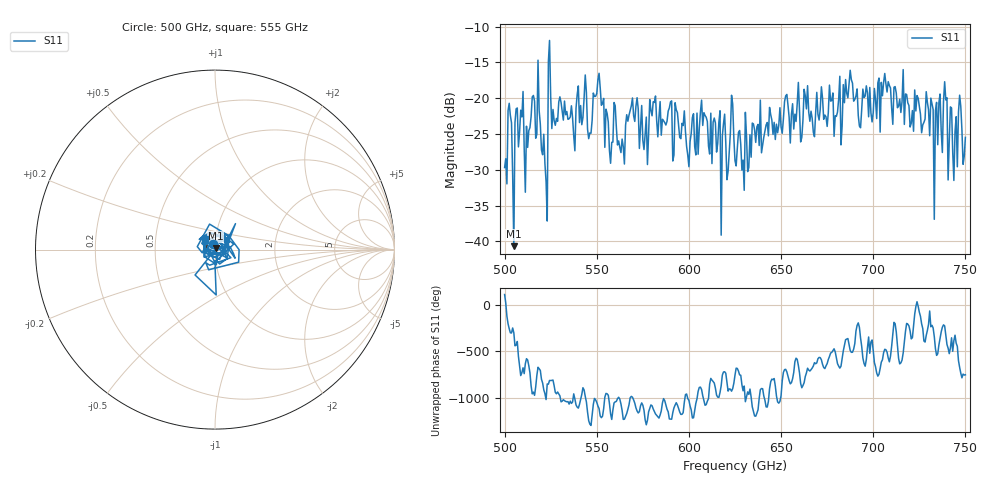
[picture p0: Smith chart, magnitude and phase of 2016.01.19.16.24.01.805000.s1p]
!Created with skrf (http://scikit-rf.org).
# GHz S RI R 50.0
!freq ReS11 ImS11
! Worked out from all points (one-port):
!   401 points, 500 GHz to 750 GHz, reference 50 ohm
!   lowest |S11| = -40.7 dB at 505 GHz (marker M1), VSWR 1.02, Z = 50.5 + j0.804 ohm
!   |S11| at or under -10 dB: start of sweep to end of sweep
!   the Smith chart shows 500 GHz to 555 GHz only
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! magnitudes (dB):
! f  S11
! 500 GHz  -29.7
! 502.5 GHz  -20.7
! 505 GHz  -40.7
! 516.9 GHz  -25.6
! 521.9 GHz  -29.2
! 525 GHz  -19.8
! 526.9 GHz  -23.1
! 531.2 GHz  -21.9
! 543.8 GHz  -16.8
! 546.2 GHz  -24.9
! 550.6 GHz  -17.4
! 562.5 GHz  -26.9
! 568.8 GHz  -21.1
! 576.2 GHz  -25.0
! 580 GHz  -22.5
! 593.8 GHz  -22.0
! 599.4 GHz  -28.0
! 607.5 GHz  -23.8
! 616.2 GHz  -23.4
! 625 GHz  -28.7
! 656.2 GHz  -20.8
! 687.5 GHz  -16.1
! 692.5 GHz  -23.9
! 706.9 GHz  -18.0
! 718.8 GHz  -20.6
! 733.8 GHz  -21.8
! 738.8 GHz  -17.7
! 750 GHz  -25.5
